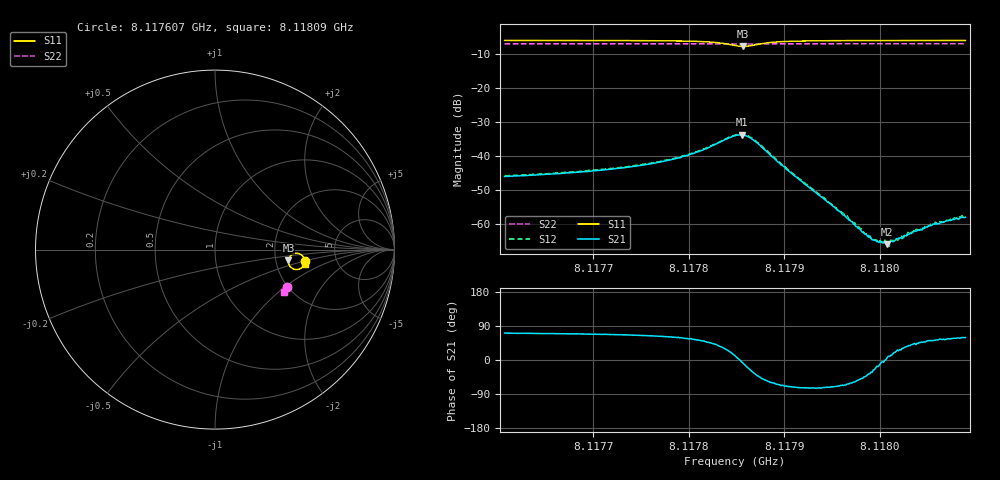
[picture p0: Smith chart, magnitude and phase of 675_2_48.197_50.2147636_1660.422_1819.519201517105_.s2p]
#  HZ  S  RI  R  50.00
! Rohde & Schwarz Vector Network Analyzer
! Rohde-Schwarz,ZNB20-2Port,1311601062101988,3.16
! Created: UTC 3/20/2024, 12:06:18 PM
! freq[Hz]  re:S11  im:S11  re:S21  im:S21  re:S12  im:S12  re:S22  im:S22
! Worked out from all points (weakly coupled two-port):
!   401 points, 8.117607 GHz to 8.11809 GHz, reference 50 ohm
!   highest |S21| = -33.73 dB at 8.1178557 GHz (marker M1); lowest = -66.0 dB at 8.1180079 GHz (marker M2)
!   lowest |S11| = -7.7 dB at 8.1178569 GHz (marker M3), VSWR 2.41, Z = 117 - j17.2 ohm
!   |S11| at or under -10 dB: nowhere
!   |S22| runs from -7.0 to -6.9 dB; largest |S21 - S12| = 0.00072
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8.117607e9  0.5027 -0.0639  0.00162 0.00471  0.00172 0.00484  0.4021 -0.2084
8.1176879e9  0.5004 -0.0736  0.00212 0.00545  0.00217 0.00554  0.3995 -0.2136
8.11773499e9  0.4976 -0.0812  0.00273 0.00623  0.00289 0.00632  0.3979 -0.2168
8.1177688e9  0.4937 -0.0891  0.00371 0.00717  0.00378 0.00733  0.3967 -0.2191
8.11780623e9  0.4817 -0.1022  0.00652 0.00895  0.00663 0.00908  0.3949 -0.2216
8.11783401e9  0.4496 -0.1109  0.0135 0.00926  0.0137 0.0096  0.3925 -0.2233
8.1178485e9  0.4168 -0.0914  0.0195 0.0039  0.0199 0.00425  0.391 -0.2228
8.11785574e9  0.4089 -0.0655  0.0205 -0.00198  0.0209 -0.00169  0.3905 -0.2222
8.11785695e9  0.4091 -0.0606  0.0201 -0.00301  0.0206 -0.00276  0.3906 -0.222
8.11786298e9  0.4178 -0.0386  0.0175 -0.00725  0.0181 -0.00739  0.3911 -0.2213
8.11787023e9  0.4379 -0.0233  0.0127 -0.01  0.0133 -0.0102  0.392 -0.2215
8.11789317e9  0.4823 -0.0298  0.00355 -0.00739  0.00371 -0.00763  0.3932 -0.2237
8.1179294e9  0.4976 -0.0511  0.000895 -0.00306  0.00087 -0.00318  0.3925 -0.2269
8.11796441e9  0.5002 -0.0623  0.00051 -0.00117  0.000601 -0.00121  0.3914 -0.2294
8.11798252e9  0.5007 -0.0663  0.000495 -0.00056  0.000509 -0.000603  0.3907 -0.2307
8.11799098e9  0.5007 -0.0681  0.000523 -0.000327  0.000501 -0.000335  0.3903 -0.2312
8.11799701e9  0.5007 -0.0691  0.000525 -0.000153  0.00054 -0.000202  0.3903 -0.2318
8.11800184e9  0.5008 -0.0699  0.000542 -6.06e-05  0.000524 -7.76e-05  0.3902 -0.2319
8.11800788e9  0.5007 -0.071  0.000499 4.76e-05  0.000548 9.01e-06  0.3898 -0.2323
8.1180103e9  0.5007 -0.0714  0.000523 8.31e-05  0.00046 8.26e-05  0.3898 -0.2325
8.11805377e9  0.5005 -0.0777  0.00058 0.000737  0.000639 0.000748  0.3881 -0.2354
8.11808999e9  0.5 -0.082  0.000638 0.00107  0.000689 0.0011  0.3868 -0.2377
